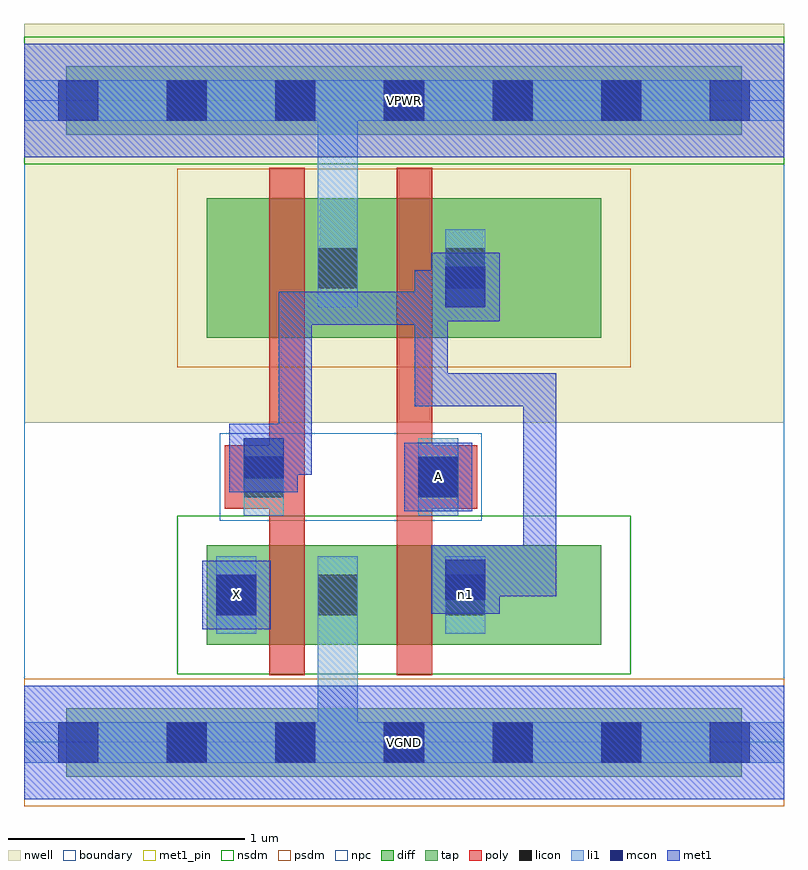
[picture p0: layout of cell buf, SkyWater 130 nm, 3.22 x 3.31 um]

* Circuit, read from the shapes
.subckt buf A VGND VPWR X n1
XM1 VGND n1 X VGND sky130_fd_pr__nfet_01v8 w=0.42 l=0.15
XM2 n1 A VGND VGND sky130_fd_pr__nfet_01v8 w=0.42 l=0.15
XM3 VPWR n1 n2 VPWR sky130_fd_pr__pfet_01v8 w=0.59 l=0.15
XM4 n1 A VPWR VPWR sky130_fd_pr__pfet_01v8 w=0.59 l=0.15
.ends

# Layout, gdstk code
import gdstk
lib = gdstk.Library(unit=1e-6, precision=1e-09)
def R(c, l, rs):  # rectangles x0, y0, x1, y1
    for r in rs: c.add(gdstk.rectangle(r[:2], r[2:], *l))
def A(c, l, x, y, w, h, nx, ny, dx, dy):  # array of equal rectangles
    R(c, l, [(x+i*dx, y+j*dy, x+i*dx+w, y+j*dy+h) for i in range(nx) for j in range(ny)])
nwell = (64, 20)
diff = (65, 20)
tap = (65, 44)
poly = (66, 20)
licon = (66, 44)
li1 = (67, 20)
mcon = (67, 44)
met1_pin = (68, 16)
met1 = (68, 20)
nsdm = (93, 44)
psdm = (94, 20)
npc = (95, 20)
boundary = (235, 4)

buf = lib.new_cell('buf')
R(buf, nwell, [(0,1.355,3.22,3.045)])
R(buf, diff, [(0.775,0.415,2.445,0.835), (0.775,1.715,2.445,2.305)])
R(buf, tap, [(0.18,-0.145,3.04,0.145), (0.18,2.575,3.04,2.865)])
R(buf, poly, [(1.04,0.285,1.19,2.435), (1.58,0.285,1.73,2.435), (0.85,0.99,1.18,1.26), (1.59,0.99,1.92,1.26)])
A(buf, licon, 0.605, -0.085, 0.17, 0.17, 5, 2, 0.46, 2.72)
R(buf, licon, [(0.815,0.54,0.985,0.71), (1.245,0.54,1.415,0.71), (1.785,0.54,1.955,0.71), (0.93,1.04,1.1,1.21), (1.67,1.04,1.84,1.21), (1.245,1.925,1.415,2.095), (1.785,1.925,1.955,2.095)])
R(buf, li1, [(0,-0.085,3.22,0.085), (1.245,-0.085,1.415,0.79), (0.815,0.46,0.985,0.79), (1.245,0.46,1.415,0.79), (1.785,0.46,1.955,0.79), (0.93,0.96,1.1,1.29), (1.67,0.96,1.84,1.29), (1.245,1.845,1.415,2.175), (1.245,1.845,1.415,2.805), (1.785,1.845,1.955,2.175), (0,2.635,3.22,2.805)])
A(buf, mcon, 0.145, -0.085, 0.17, 0.17, 7, 2, 0.46, 2.72)
R(buf, mcon, [(0.815,0.54,0.985,0.71), (1.785,0.605,1.955,0.775), (1.67,1.04,1.84,1.21), (0.93,1.12,1.1,1.29), (1.785,1.845,1.955,2.015)])
R(buf, met1_pin, [(0,-0.24,3.22,0.24), (0.755,0.48,1.045,0.77), (1.61,0.98,1.9,1.27), (0,2.48,3.22,2.96)])
R(buf, met1, [(0,-0.24,3.22,0.24), (0.755,0.48,1.045,0.77), (1.725,0.545,2.015,0.835), (1.8,0.62,2.14,0.76), (2,0.62,2.255,0.76), (2.015,0.62,2.115,0.835), (2.115,0.62,2.255,1.565), (1.61,0.98,1.9,1.27), (0.87,1.06,1.16,1.35), (0.945,1.135,1.22,1.275), (1.08,1.135,1.22,1.45), (1.08,1.31,1.22,1.91), (1.655,1.425,1.795,1.91), (1.655,1.425,2.255,1.565), (1.08,1.77,1.795,1.91), (1.655,1.77,1.795,2), (1.725,1.785,2.015,2.075), (1.655,1.86,1.94,2), (0,2.48,3.22,2.96)])
R(buf, nsdm, [(0.65,0.29,2.57,0.96), (0,2.45,3.22,2.99)])
R(buf, psdm, [(0,-0.27,3.22,0.27), (0.65,1.59,2.57,2.43)])
R(buf, npc, [(0.83,0.94,1.94,1.31)])
R(buf, boundary, [(0,0,3.22,2.72)])
buf.add(gdstk.Label('n1', (1.87,0.625), layer=67, texttype=5))
buf.add(gdstk.Label('A', (1.755,1.125), layer=68, texttype=5))
buf.add(gdstk.Label('X', (0.9,0.625), layer=68, texttype=5))
buf.add(gdstk.Label('VPWR', (1.61,2.72), layer=68, texttype=5))
buf.add(gdstk.Label('VGND', (1.61,0), layer=68, texttype=5))
buf.add(gdstk.Label('A', (1.755,1.125), layer=68, texttype=16))
buf.add(gdstk.Label('X', (0.9,0.625), layer=68, texttype=16))
buf.add(gdstk.Label('VPWR', (1.61,2.72), layer=68, texttype=16))
buf.add(gdstk.Label('VGND', (1.61,0), layer=68, texttype=16))

lib.write_gds('buf.gds')
